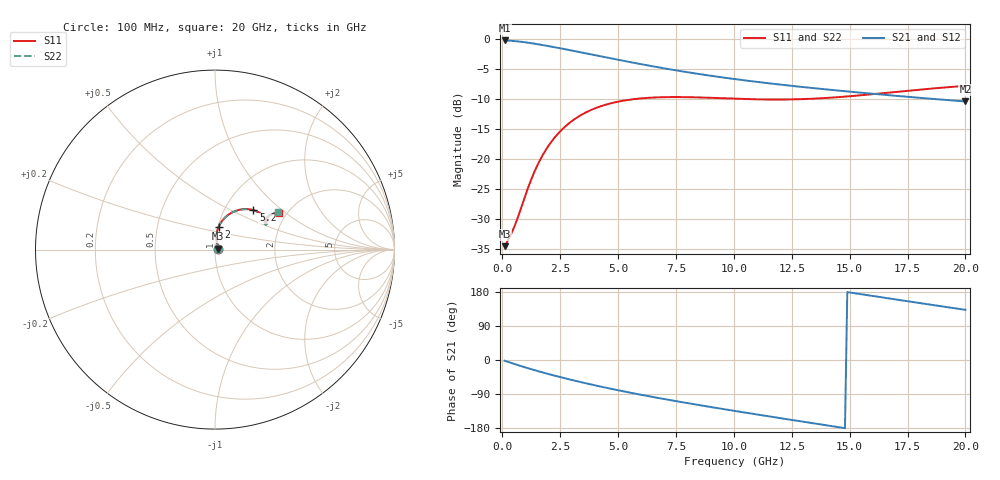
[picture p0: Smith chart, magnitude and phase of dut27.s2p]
! Touchstone file exported from HFSS 2023.1.0
!  File:  D:/Users/fzz/RDL_TSV/temp_RDL_TSV_27_1778743892.aedt
!  Generated:  3:40:51 %x4E0B%x5348  5%x6708 14, 2026
!  Design:  RDL_TSV
!  Project:  temp_RDL_TSV_27_1778743892
!  Setup:  Setup1
!  Solution:  Sweep
! Variables:
!  dtsv = 16.18um
!  hbump = 3um
!  htsv = 51.16um
!  ldown = 347.17um
!  lrdl = 598.32um
!  p = 40
!  p1 = 52.16um
!  rhole = 10um
!  subl = 3434.79um
!  t = 450um
!  tdown = 3.8um
!  trdl = 4.34um
!  viad = 10um
!  wdown = 19.13um
!  wrdl = 14.9um
!  xbump = 18um
# GHz S MA R 50.000000
! Terminal data exported
! Port[1] = TM1_1_T1
! Port[2] = TM1_4_T1
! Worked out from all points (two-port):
!   200 points, 100 MHz to 20 GHz, reference 50 ohm
!   highest |S21| = -0.16 dB at 100 MHz (marker M1); lowest = -10.4 dB at 20 GHz (marker M2)
!   |S21| within 3 dB of the highest: start of sweep to 4.702 GHz
!   lowest |S11| = -34.6 dB at 100 MHz (marker M3), VSWR 1.04, Z = 51.8 + j0.463 ohm
!   |S11| at or under -10 dB: start of sweep to 5.639 GHz; 10.88 GHz to 12.73 GHz (1.856 GHz wide, 15.7 % of centre)
!   |S22| runs from -34.6 to -7.8 dB; largest |S21 - S12| = 5.1e-14
!   S11 on the Smith chart (normalised r, x): 100 MHz: 1.04, +0.01; 2 GHz: 1.01, +0.26; 5.2 GHz: 1.36, +0.66; 20 GHz: 1.81, +0.89
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0.1  0.01869 13.8  0.9813 -2.1  0.9813 -2.1  0.01869 13.8
! Gamma 0 0 0 0
! Port Impedance 50 0 50 0
0.5  0.02659 52.4  0.9708 -10.1  0.9708 -10.1  0.0266 52.3
1.1  0.05664 81.3  0.9408 -21.5  0.9408 -21.5  0.05659 81.2
1.4  0.07921 84.1  0.9218 -26.9  0.9218 -26.9  0.07912 84.1
1.7  0.104 83.5  0.9013 -32.1  0.9013 -32.1  0.1039 83.4
2  0.1295 81.0  0.8801 -37.1  0.8801 -37.1  0.1293 80.9
2.3  0.1545 77.7  0.8586 -42.0  0.8586 -42.0  0.1542 77.7
2.7  0.1859 72.9  0.8298 -48.2  0.8298 -48.2  0.1856 72.8
3.5  0.2392 63.0  0.7734 -59.9  0.7734 -59.9  0.2387 62.9
4.3  0.2784 54.1  0.72 -70.9  0.72 -70.9  0.2777 54.0
5.2  0.3072 45.8  0.665 -82.3  0.665 -82.3  0.3062 45.7
6  0.3217 39.7  0.6211 -91.9  0.6211 -91.9  0.3205 39.7
6.8  0.3286 34.9  0.5821 -100.9  0.5821 -100.9  0.3272 34.9
7.6  0.33 31.3  0.5478 -109.6  0.5478 -109.6  0.3285 31.2
8.4  0.328 28.6  0.5175 -118.0  0.5175 -118.0  0.3264 28.6
10.1  0.3195 26.1  0.4648 -135.0  0.4648 -135.0  0.3177 26.2
11.7  0.3146 26.7  0.426 -150.5  0.426 -150.5  0.3129 26.9
13.4  0.3197 29.0  0.3926 -166.7  0.3926 -166.7  0.3182 29.2
15  0.3351 31.0  0.3662 178.3  0.3662 178.3  0.334 31.3
16.7  0.3595 32.0  0.3419 162.5  0.3419 162.5  0.3589 32.3
18.4  0.3864 31.5  0.3207 146.9  0.3207 146.9  0.3862 31.8
20  0.4094 30.0  0.3031 132.4  0.3031 132.4  0.4095 30.3
